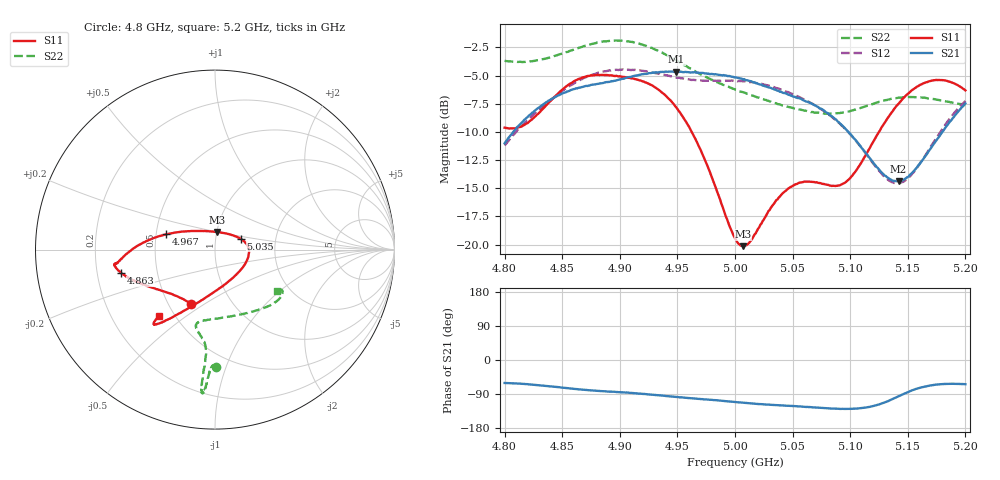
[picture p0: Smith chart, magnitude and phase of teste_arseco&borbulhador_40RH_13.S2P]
! Network Analyzer HP8722D
! Hewlett-Packard
! Data name: Linha & Wilkinson
! Saver's name: Rodrigo Anjos
! Comments: Teste da utilização de aquisição
! continua pelo VNA HP8722D
! Time and date: 15/4/2025 16:27
!  Frequency  S11  S21  S12  S22
# HZ  S  MA R 50
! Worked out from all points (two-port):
!   401 points, 4.8 GHz to 5.2 GHz, reference 50 ohm
!   highest |S21| = -4.64 dB at 4.949 GHz (marker M1); lowest = -14.4 dB at 5.142 GHz (marker M2)
!   |S21| within 3 dB of the highest: 4.832 GHz to 5.069 GHz (237.1 MHz wide, 4.79 % of centre); 5.19853 GHz to end of sweep
!   lowest |S11| = -20.1 dB at 5.007 GHz (marker M3), VSWR 1.22, Z = 50.1 + j9.91 ohm
!   |S11| at or under -10 dB: 4.962 GHz to 5.125 GHz (162.6 MHz wide, 3.22 % of centre)
!   |S22| runs from -8.4 to -1.9 dB; largest |S21 - S12| = 0.88
!   S11 on the Smith chart (normalised r, x): 4.8 GHz: 0.65, -0.44; 4.863 GHz: 0.30, -0.11; 4.967 GHz: 0.57, +0.10; 5.035 GHz: 1.32, +0.17; 5.2 GHz: 0.41, -0.40
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4.8e9  0.3304 -113.9  0.2814 -60.7  0.2754 -175.1  0.6543 -89.5
4.819e9  0.3445 -133.5  0.3646 -63.6  0.3526 -173.3  0.6482 -91.1
4.84e9  0.4346 -152.8  0.44 -69.6  0.4395 -173.6  0.6785 -92.5
4.863e9  0.5385 -166.0  0.4928 -77.0  0.5292 -176.5  0.7418 -93.5
4.867e9  0.5497 -167.5  0.4999 -78.1  0.5416 -177.3  0.7527 -93.6
4.899e9  0.5575 -172.2  0.5385 -84.9  0.5948 175.8  0.8028 -95.0
4.934e9  0.4854 -178.0  0.5822 -93.2  0.5748 171.9  0.7192 -95.4
4.949e9  0.4062 174.9  0.586 -97.3  0.5518 172.2  0.6567 -95.2
4.967e9  0.2846 162.6  0.5786 -102.1  0.5358 174.0  0.5802 -94.9
5e9  0.1069 107.4  0.5524 -110.8  0.5348 176.5  0.4878 -99.2
5.007e9  0.09848 83.6  0.5402 -112.7  0.5298 176.5  0.474 -100.9
5.014e9  0.1045 61.4  0.5306 -114.8  0.5272 176.4  0.4604 -102.5
5.035e9  0.1553 23.1  0.4875 -118.9  0.4961 175.0  0.4241 -103.8
5.05e9  0.1821 7.1  0.455 -121.5  0.4655 174.4  0.4044 -100.4
5.067e9  0.1901 -11.1  0.4209 -124.9  0.4223 173.9  0.3876 -91.8
5.086e9  0.1822 -41.5  0.3644 -128.4  0.3613 173.5  0.3818 -77.8
5.097e9  0.191 -64.8  0.3216 -129.1  0.3212 174.5  0.3884 -68.6
5.134e9  0.3732 -116.0  0.1959 -107.1  0.1919 -159.9  0.4411 -43.4
5.142e9  0.4215 -120.5  0.1908 -95.7  0.1877 -147.3  0.4486 -39.9
5.154e9  0.486 -125.1  0.2088 -79.9  0.207 -128.9  0.4513 -35.6
5.171e9  0.5339 -128.7  0.2725 -66.7  0.2773 -112.3  0.4429 -31.7
5.2e9  0.4831 -130.3  0.4229 -64.1  0.4341 -106.0  0.4151 -33.4
